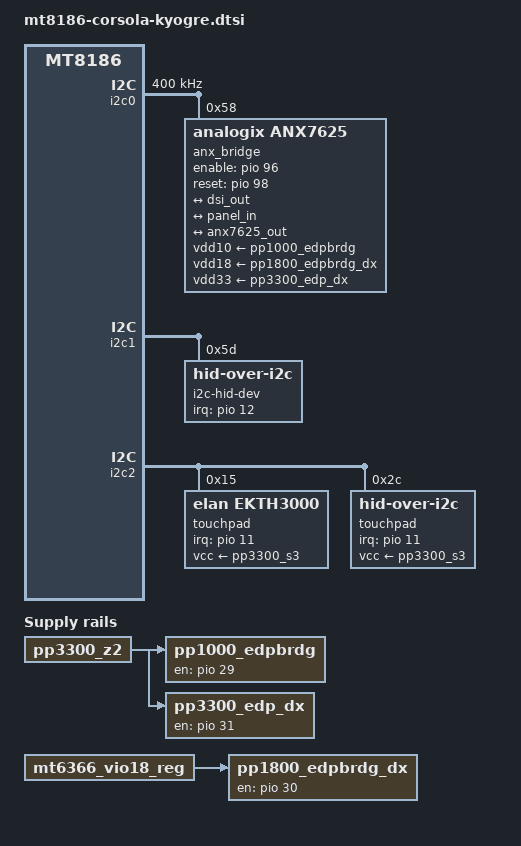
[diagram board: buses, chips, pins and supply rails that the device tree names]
// SPDX-License-Identifier: (GPL-2.0 OR MIT)
/*
 * Copyright 2024 Google LLC
 */

/dts-v1/;
#include "mt8186-corsola.dtsi"

/ {
	pp1000_edpbrdg: regulator-pp1000-edpbrdg {
		compatible = "regulator-fixed";
		regulator-name = "pp1000_edpbrdg";
		pinctrl-names = "default";
		pinctrl-0 = <&en_pp1000_edpbrdg>;
		enable-active-high;
		regulator-boot-on;
		gpio = <&pio 29 GPIO_ACTIVE_HIGH>;
		vin-supply = <&pp3300_z2>;
	};

	pp1800_edpbrdg_dx: regulator-pp1800-edpbrdg-dx {
		compatible = "regulator-fixed";
		regulator-name = "pp1800_edpbrdg_dx";
		pinctrl-names = "default";
		pinctrl-0 = <&en_pp1800_edpbrdg>;
		enable-active-high;
		regulator-boot-on;
		gpio = <&pio 30 GPIO_ACTIVE_HIGH>;
		vin-supply = <&mt6366_vio18_reg>;
	};

	pp3300_edp_dx: regulator-pp3300-edp-dx {
		compatible = "regulator-fixed";
		regulator-name = "pp3300_edp_dx";
		pinctrl-names = "default";
		pinctrl-0 = <&en_pp3300_edpbrdg>;
		enable-active-high;
		regulator-boot-on;
		gpio = <&pio 31 GPIO_ACTIVE_HIGH>;
		vin-supply = <&pp3300_z2>;
	};
};

&keyboard_controller {
	keypad,num-columns = <18>;

	function-row-physmap = <
		MATRIX_KEY(0x00, 0x02, KEY_F1)	/* T1 */
		MATRIX_KEY(0x03, 0x02, KEY_F2)	/* T2 */
		MATRIX_KEY(0x02, 0x02, KEY_F3)	/* T3 */
		MATRIX_KEY(0x01, 0x02, KEY_F4)	/* T4 */
		MATRIX_KEY(0x04, 0x04, KEY_F5)	/* T5 */
		MATRIX_KEY(0x02, 0x04, KEY_F6)	/* T6 */
		MATRIX_KEY(0x01, 0x04, KEY_F7)	/* T7 */
		MATRIX_KEY(0x02, 0x0b, KEY_F8)	/* T8 */
		MATRIX_KEY(0x01, 0x09, KEY_F9)	/* T9 */
		MATRIX_KEY(0x00, 0x04, KEY_F10)	/* T10 */
		MATRIX_KEY(0x00, 0x01, KEY_F11)	/* T11 */
		MATRIX_KEY(0x01, 0x05, KEY_F12)	/* T12 */
		MATRIX_KEY(0x03, 0x05, KEY_F13)	/* T13 */
		MATRIX_KEY(0x03, 0x09, KEY_F14)	/* T14 */
	>;

	linux,keymap = <
		CROS_TOP_ROW_KEYMAP_V30
		CROS_MAIN_KEYMAP_V30
		MATRIX_KEY(0x00, 0x02, KEY_BACK)
		MATRIX_KEY(0x03, 0x02, KEY_REFRESH)
		MATRIX_KEY(0x02, 0x02, KEY_ZOOM)
		MATRIX_KEY(0x01, 0x02, KEY_SCALE)
		MATRIX_KEY(0x04, 0x04, KEY_SYSRQ)
		MATRIX_KEY(0x02, 0x04, KEY_BRIGHTNESSDOWN)
		MATRIX_KEY(0x01, 0x04, KEY_BRIGHTNESSUP)
		MATRIX_KEY(0x02, 0x0b, KEY_DICTATE)
		MATRIX_KEY(0x01, 0x09, KEY_ACCESSIBILITY)
		MATRIX_KEY(0x00, 0x04, KEY_PLAYPAUSE)
		MATRIX_KEY(0x00, 0x01, KEY_MICMUTE)
		MATRIX_KEY(0x01, 0x05, KEY_MUTE)
		MATRIX_KEY(0x03, 0x05, KEY_VOLUMEDOWN)
		MATRIX_KEY(0x03, 0x09, KEY_VOLUMEUP)
	>;
};

&keyboard_controller {
	keypad,num-columns = <18>;

	linux,keymap = <
		CROS_TOP_ROW_KEYMAP_V30
		CROS_MAIN_KEYMAP_V30
		MATRIX_KEY(0x00, 0x02, KEY_BACK)
		MATRIX_KEY(0x03, 0x02, KEY_REFRESH)
		MATRIX_KEY(0x02, 0x02, KEY_ZOOM)
		MATRIX_KEY(0x01, 0x02, KEY_SCALE)
		MATRIX_KEY(0x04, 0x04, KEY_SYSRQ)
		MATRIX_KEY(0x02, 0x04, KEY_BRIGHTNESSDOWN)
		MATRIX_KEY(0x01, 0x04, KEY_BRIGHTNESSUP)
		MATRIX_KEY(0x02, 0x0b, KEY_DICTATE)
		MATRIX_KEY(0x01, 0x09, KEY_ACCESSIBILITY)
		MATRIX_KEY(0x00, 0x04, KEY_MICMUTE)
		MATRIX_KEY(0x00, 0x01, KEY_MUTE)
		MATRIX_KEY(0x01, 0x05, KEY_VOLUMEDOWN)
		MATRIX_KEY(0x03, 0x05, KEY_VOLUMEUP)
	>;
};

&dsi_out {
	remote-endpoint = <&anx7625_in_>;
};

&i2c0 {
	clock-frequency = <400000>;

	anx_bridge: anx7625@58 {
		compatible = "analogix,anx7625";
		reg = <0x58>;
		pinctrl-names = "default";
		pinctrl-0 = <&anx7625_pins>;
		enable-gpios = <&pio 96 GPIO_ACTIVE_HIGH>;
		reset-gpios = <&pio 98 GPIO_ACTIVE_HIGH>;
		vdd10-supply = <&pp1000_edpbrdg>;
		vdd18-supply = <&pp1800_edpbrdg_dx>;
		vdd33-supply = <&pp3300_edp_dx>;
		#address-cells = <1>;
		#size-cells = <0>;

		port@0 {
			reg = <0>;

			anx7625_in_: endpoint {
				remote-endpoint = <&dsi_out>;
				data-lanes = <0 1 2 3>;
			};
		};

		port@1 {
			reg = <1>;

			anx7625_out: endpoint {
				remote-endpoint = <&panel_in>;
			};
		};

		aux-bus {
			panel: panel {
				compatible = "edp-panel";
				power-supply = <&pp3300_disp_x>;
				backlight = <&backlight_lcd0>;

				port {
					panel_in: endpoint {
						remote-endpoint = <&anx7625_out>;
					};
				};
			};
		};
	};
};

&i2c1 {
	i2c-hid-dev@5d {
		compatible = "hid-over-i2c";
		reg = <0x5d>;
		hid-descr-addr = <0x0001>;
		interrupt-parent = <&pio>;
		interrupts = <12 IRQ_TYPE_EDGE_FALLING>;
	};
};

&i2c2 {
	touchpad@15 {
		compatible = "elan,ekth3000";
		reg = <0x15>;
		interrupt-parent = <&pio>;
		interrupts = <11 IRQ_TYPE_LEVEL_LOW>;
		vcc-supply = <&pp3300_s3>;
		wakeup-source;
	};

	touchpad@2c {
		compatible = "hid-over-i2c";
		reg = <0x2c>;
		hid-descr-addr = <0x20>;
		interrupts-extended = <&pio 11 IRQ_TYPE_LEVEL_LOW>;
		vcc-supply = <&pp3300_s3>;
		wakeup-source;
	};
};

&pio {
	dpi_pin_default: dpi-pin-default {
		pins-cmd-dat {
			pinmux = <PINMUX_GPIO103__FUNC_GPIO103>,
				 <PINMUX_GPIO104__FUNC_GPIO104>,
				 <PINMUX_GPIO105__FUNC_GPIO105>,
				 <PINMUX_GPIO106__FUNC_GPIO106>,
				 <PINMUX_GPIO107__FUNC_GPIO107>,
				 <PINMUX_GPIO108__FUNC_GPIO108>,
				 <PINMUX_GPIO109__FUNC_GPIO109>,
				 <PINMUX_GPIO110__FUNC_GPIO110>,
				 <PINMUX_GPIO111__FUNC_GPIO111>,
				 <PINMUX_GPIO112__FUNC_GPIO112>,
				 <PINMUX_GPIO113__FUNC_GPIO113>,
				 <PINMUX_GPIO114__FUNC_GPIO114>,
				 <PINMUX_GPIO101__FUNC_GPIO101>,
				 <PINMUX_GPIO100__FUNC_GPIO100>,
				 <PINMUX_GPIO102__FUNC_GPIO102>,
				 <PINMUX_GPIO99__FUNC_GPIO99>;
			drive-strength = <MTK_DRIVE_10mA>;
			output-low;
		};
	};

	dpi_pin_func: dpi-pin-func {
		pins-cmd-dat {
			pinmux = <PINMUX_GPIO103__FUNC_DPI_DATA0>,
				 <PINMUX_GPIO104__FUNC_DPI_DATA1>,
				 <PINMUX_GPIO105__FUNC_DPI_DATA2>,
				 <PINMUX_GPIO106__FUNC_DPI_DATA3>,
				 <PINMUX_GPIO107__FUNC_DPI_DATA4>,
				 <PINMUX_GPIO108__FUNC_DPI_DATA5>,
				 <PINMUX_GPIO109__FUNC_DPI_DATA6>,
				 <PINMUX_GPIO110__FUNC_DPI_DATA7>,
				 <PINMUX_GPIO111__FUNC_DPI_DATA8>,
				 <PINMUX_GPIO112__FUNC_DPI_DATA9>,
				 <PINMUX_GPIO113__FUNC_DPI_DATA10>,
				 <PINMUX_GPIO114__FUNC_DPI_DATA11>,
				 <PINMUX_GPIO101__FUNC_DPI_HSYNC>,
				 <PINMUX_GPIO100__FUNC_DPI_VSYNC>,
				 <PINMUX_GPIO102__FUNC_DPI_DE>,
				 <PINMUX_GPIO99__FUNC_DPI_PCLK>;
			drive-strength = <MTK_DRIVE_10mA>;
		};
	};

	anx7625_pins: anx7625-pins {
		pins2 {
			pinmux = <PINMUX_GPIO9__FUNC_GPIO9>;
			input-enable;
			/delete-property/ bias-pull-up;
			bias-disable;
		};
	};

	en_pp1000_edpbrdg: pp1000-edpbrdg-en-pins {
		pins-vreg-en {
			pinmux = <PINMUX_GPIO29__FUNC_GPIO29>;
			output-low;
		};
	};

	en_pp1800_edpbrdg: pp1800-edpbrdg-en-pins {
		pins-vreg-en {
			pinmux = <PINMUX_GPIO30__FUNC_GPIO30>;
			output-low;
		};
	};

	en_pp3300_edpbrdg: pp3300-edpbrdg-en-pins {
		pins-vreg-en {
			pinmux = <PINMUX_GPIO31__FUNC_GPIO31>;
			output-low;
		};
	};
};
